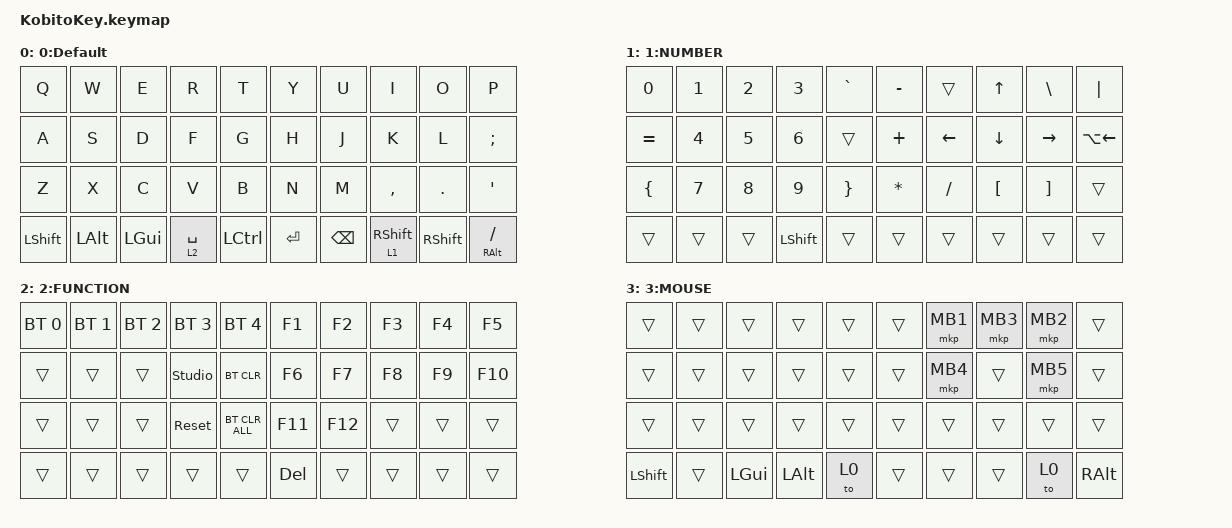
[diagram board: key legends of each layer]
#include <input/processors.dtsi>
#include <behaviors.dtsi>
#include <dt-bindings/zmk/bt.h>
#include <dt-bindings/zmk/keys.h>
#include <dt-bindings/zmk/pointing.h>

/ {
    combos {
        compatible = "zmk,combos";

        combo_eisu {
            timeout-ms = <50>;
            key-positions = <12 13>;
            bindings = <&kp LANG2>;
        };

        combo_kana {
            timeout-ms = <50>;
            key-positions = <16 17>;
            bindings = <&kp LANG1>;
        };

        combo_esc {
            timeout-ms = <50>;
            key-positions = <0 1>;
            bindings = <&kp ESC>;
        };

        combo_tab {
            timeout-ms = <50>;
            key-positions = <10 11>;
            bindings = <&kp TAB>;
        };
    };

    keymap {
        compatible = "zmk,keymap";

        default_layer {
            label = "0:Default";
            bindings = <
&kp Q           &kp W         &kp E         &kp R        &kp T      &kp Y      &kp U          &kp I              &kp O            &kp P
&kp A           &kp S         &kp D         &kp F        &kp G      &kp H      &kp J          &kp K              &kp L            &kp SEMI
&kp Z           &kp X         &kp C         &kp V        &kp B      &kp N      &kp M          &kp COMMA          &kp DOT          &kp APOS
&kp LEFT_SHIFT  &kp LEFT_ALT  &kp LEFT_GUI  &lt 2 SPACE  &kp LCTRL  &kp ENTER  &kp BACKSPACE  &lt 1 RIGHT_SHIFT  &kp RIGHT_SHIFT  &mt RIGHT_ALT SLASH
            >;
        };

        layer1 {
            label = "1:NUMBER";
            bindings = <
&kp N0          &kp N1  &kp N2  &kp N3          &kp GRAVE        &kp MINUS  &trans     &kp UP    &kp BACKSLASH  &kp PIPE
&kp EQUAL       &kp N4  &kp N5  &kp N6          &trans           &kp PLUS   &kp LEFT   &kp DOWN  &kp RIGHT      &kp LA(LEFT_ARROW)
&kp LEFT_BRACE  &kp N7  &kp N8  &kp N9          &kp RIGHT_BRACE  &kp ASTRK  &kp SLASH  &kp LBKT  &kp RBKT       &trans
&trans          &trans  &trans  &kp LEFT_SHIFT  &trans           &trans     &trans     &trans    &trans         &trans
            >;
        };

        layer2 {
            label = "2:FUNCTION";
            bindings = <
&bt BT_SEL 0  &bt BT_SEL 1  &bt BT_SEL 2  &bt BT_SEL 3    &bt BT_SEL 4    &kp F1      &kp F2   &kp F3  &kp F4  &kp F5
&trans        &trans        &trans        &studio_unlock  &bt BT_CLR      &kp F6      &kp F7   &kp F8  &kp F9  &kp F10
&trans        &trans        &trans        &sys_reset      &bt BT_CLR_ALL  &kp F11     &kp F12  &trans  &trans  &trans
&trans        &trans        &trans        &trans          &trans          &kp DELETE  &trans   &trans  &trans  &trans
            >;
        };

        layer3 {
            label = "3:MOUSE";
            bindings = <
&trans          &trans  &trans        &trans        &trans  &trans  &mkp MB1  &mkp MB3  &mkp MB2  &trans
&trans          &trans  &trans        &trans        &trans  &trans  &mkp MB4  &trans    &mkp MB5  &trans
&trans          &trans  &trans        &trans        &trans  &trans  &trans    &trans    &trans    &trans
&kp LEFT_SHIFT  &trans  &kp LEFT_GUI  &kp LEFT_ALT  &to 0   &trans  &trans    &trans    &to 0     &kp RIGHT_ALT
            >;
        };
    };
};
